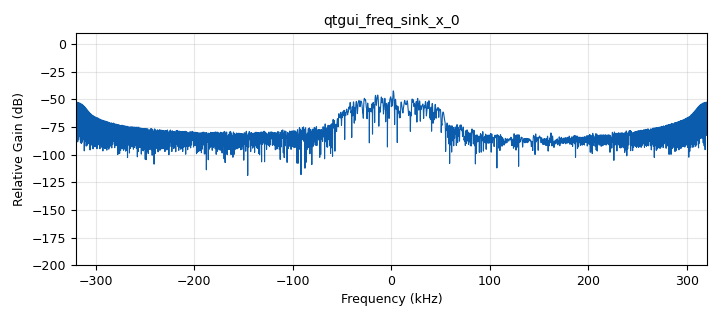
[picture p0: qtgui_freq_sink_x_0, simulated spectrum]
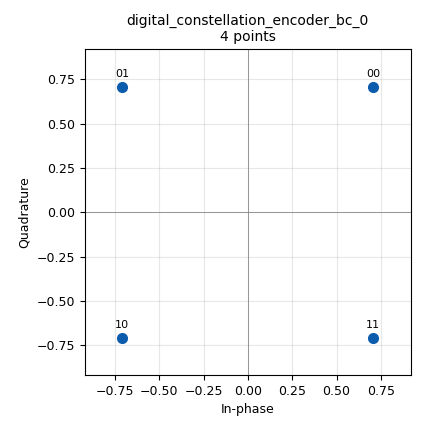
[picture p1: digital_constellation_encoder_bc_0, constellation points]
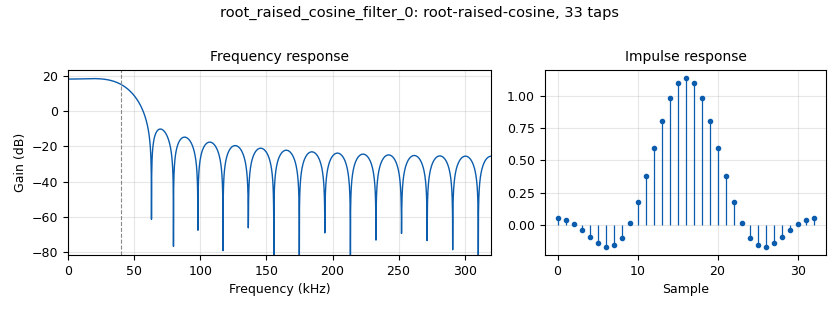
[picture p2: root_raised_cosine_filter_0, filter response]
options:
  parameters:
    author: Kolbjørn Bølgen
    generate_options: qt_gui
    id: Pluto
    output_language: python
    title: Pakke & Burst Kommunikasjon
  states: {}

blocks:
- name: LO_freq
  id: variable
  parameters:
    value: 2.425e9
  states: {}
- name: QPSK
  id: variable_constellation_rect
  parameters:
    const_points: '[0.707+0.707j, -0.707+0.707j, -0.707-0.707j, 0.707-0.707j]'
    imag_sect: '2'
    real_sect: '2'
    rot_sym: '4'
    sym_map: '[0,1,2,3]'
    w_imag_sect: '1'
    w_real_sect: '1'
  states: {}
- name: access_key
  id: variable
  parameters:
    comment: |-
      Training til frame-sync
      kasami-kode
    value: '''1101100111001110'''
  states: {}
- name: crc_size
  id: variable
  parameters:
    value: '4'
  states: {}
- name: datarate
  id: variable
  parameters:
    value: (header_size + payload_size_bytes+crc_size)*8*0.5*pakker_ps/(duty_cycle_percent/100)
  states: {}
- name: duty_cycle_percent
  id: variable
  parameters:
    value: '4'
  states: {}
- name: excess_BW
  id: variable
  parameters:
    value: '0.45'
  states: {}
- name: hdr_format
  id: variable
  parameters:
    comment: header_format_default
    value: digital.header_format_default(access_key, 0)
  states: {}
- name: header_size
  id: variable
  parameters:
    value: '6'
  states: {}
- name: padding
  id: variable
  parameters:
    value: (samp_rate/pakker_ps-signal_lengde-vindu_lengde)
  states: {}
- name: pakker_ps
  id: variable
  parameters:
    value: '40'
  states: {}
- name: payload_size_bytes
  id: variable
  parameters:
    value: '10'
  states: {}
- name: samp_rate
  id: variable
  parameters:
    value: int(datarate*sps)
  states: {}
- name: signal_lengde
  id: variable
  parameters:
    value: int((header_size+payload_size_bytes+crc_size)*4*sps)
  states: {}
- name: sps
  id: variable
  parameters:
    value: '8'
  states: {}
- name: taps
  id: variable
  parameters:
    comment: |-
      span * sps
      span = antall symboler om gangen
    value: sps*4
  states: {}
- name: thresh
  id: variable
  parameters:
    value: '1'
  states: {}
- name: vindu_lengde
  id: variable
  parameters:
    comment: |-
      20 % av pakkelengde ramp up 
       20 % av pakkelengde ramp ned
    value: int(signal_lengde*0.2)
  states: {}
- name: vindu_taps
  id: variable
  parameters:
    value: '[complex(t, t) for t in firdes.window(window.WIN_BLACKMAN, vindu_lengde, 0)]'
  states: {}
- name: analog_random_uniform_source_x_0
  id: analog_random_uniform_source_x
  parameters:
    maximum: '256'
    minimum: '0'
    seed: '0'
    type: byte
  states: {}
- name: blocks_file_source_0
  id: blocks_file_source
  parameters:
    file: TxData/datapakker10bytesCounter
    repeat: 'True'
    type: byte
  states: {state: disabled}
- name: blocks_pack_k_bits_bb_0
  id: blocks_pack_k_bits_bb
  parameters:
    comment: 2 bits per symbol
    k: '2'
  states: {}
- name: blocks_repack_bits_bb_0
  id: blocks_repack_bits_bb
  parameters:
    comment: bytes -> bits
    endianness: gr.GR_MSB_FIRST
    k: '8'
    l: '1'
    len_tag_key: '"packet_len"'
  states: {}
- name: blocks_skiphead_0_0
  id: blocks_skiphead
  parameters:
    num_items: int(taps/2)
    type: complex
  states: {}
- name: blocks_stream_to_tagged_stream_0
  id: blocks_stream_to_tagged_stream
  parameters:
    comment: payload
    len_tag_key: '"packet_len"'
    packet_len: payload_size_bytes
    type: byte
  states: {}
- name: blocks_stream_to_tagged_stream_1
  id: blocks_stream_to_tagged_stream
  parameters:
    len_tag_key: '"burst_len"'
    packet_len: signal_lengde
    type: complex
  states: {}
- name: blocks_tagged_stream_multiply_length_0
  id: blocks_tagged_stream_multiply_length
  parameters:
    c: '4'
    lengthtagname: packet_len
    type: complex
  states: {}
- name: blocks_tagged_stream_mux_0_0_0
  id: blocks_tagged_stream_mux
  parameters:
    comment: payload + 16 bytes
    lengthtagname: packet_len
    ninputs: '2'
    type: byte
  states: {}
- name: digital_burst_shaper_xx_0
  id: digital_burst_shaper_xx
  parameters:
    insert_phasing: 'True'
    length_tag_name: '"burst_len"'
    post_padding: int(padding/2)
    pre_padding: int(padding/2)
    type: complex
    window: vindu_taps
  states: {}
- name: digital_constellation_encoder_bc_0
  id: digital_constellation_encoder_bc
  parameters:
    constellation: QPSK
  states: {}
- name: digital_crc32_bb_0
  id: digital_crc32_bb
  parameters:
    check: 'False'
    comment: 4 bytes CRC
    lengthtagname: '"packet_len"'
    packed: 'True'
  states: {}
- name: digital_diff_encoder_bb_0
  id: digital_diff_encoder_bb
  parameters:
    coding: digital.DIFF_DIFFERENTIAL
    modulus: '4'
  states: {}
- name: digital_protocol_formatter_bb_0
  id: digital_protocol_formatter_bb
  parameters:
    comment: |-
      6 bytes header
      2 bytes: Access_key
      4 bytes: pakkelengde, repeat x 2
    format: hdr_format
    len_tag_key: '"packet_len"'
  states: {}
- name: iio_pluto_sink_0
  id: iio_pluto_sink
  parameters:
    attenuation1: '10'
    bandwidth: int(samp_rate)
    buffer_size: int(samp_rate/40)
    cyclic: 'False'
    filter_source: '''Auto'''
    frequency: int(LO_freq)
    len_tag_key: burst_len
    samplerate: samp_rate
    type: fc32
    uri: ip:192.168.2.1
  states: {}
- name: iio_pluto_sink_0_0
  id: iio_pluto_sink
  parameters:
    attenuation1: '0'
    bandwidth: '20000000'
    buffer_size: signal_lengde
    cyclic: 'False'
    filter_source: '''Auto'''
    frequency: int(LO_freq)
    len_tag_key: burst_len
    samplerate: samp_rate
    type: fc32
    uri: ip:192.168.2.1
  states: {state: disabled}
- name: import_0
  id: import
  parameters:
    imports: from math import pi
  states: {}
- name: import_0_0
  id: import
  parameters:
    imports: from math import sqrt
  states: {}
- name: low_pass_filter_0
  id: low_pass_filter
  parameters:
    cutoff_freq: samp_rate*0.4
    decim: '1'
    gain: '1'
    samp_rate: samp_rate
    type: fir_filter_ccf
    width: samp_rate*0.05
    win: window.WIN_HANN
  states: {state: disabled}
- name: qtgui_freq_sink_x_0
  id: qtgui_freq_sink_x
  parameters:
    bw: samp_rate
    fc: '0'
    fftsize: '32768'
    type: complex
    wintype: window.WIN_BLACKMAN
    ymin: '-200'
  states: {}
- name: qtgui_time_sink_x_0
  id: qtgui_time_sink_x
  parameters:
    nconnections: '2'
    size: int(samp_rate/40)
    srate: samp_rate
    type: complex
  states: {state: disabled}
- name: root_raised_cosine_filter_0
  id: root_raised_cosine_filter
  parameters:
    alpha: excess_BW
    gain: sps
    interp: sps
    ntaps: taps
    samp_rate: samp_rate
    sym_rate: samp_rate/sps
    type: interp_fir_filter_ccf
  states: {}
- name: virtual_sink_0_2_1
  id: virtual_sink
  parameters:
    stream_id: Pakke
  states: {}
- name: virtual_source_1
  id: virtual_source
  parameters:
    stream_id: Pakke
  states: {}

connections:
- [analog_random_uniform_source_x_0, '0', blocks_stream_to_tagged_stream_0, '0']
- [blocks_file_source_0, '0', blocks_stream_to_tagged_stream_0, '0']
- [blocks_pack_k_bits_bb_0, '0', digital_diff_encoder_bb_0, '0']
- [blocks_repack_bits_bb_0, '0', virtual_sink_0_2_1, '0']
- [blocks_skiphead_0_0, '0', blocks_tagged_stream_multiply_length_0, '0']
- [blocks_stream_to_tagged_stream_0, '0', digital_crc32_bb_0, '0']
- [blocks_stream_to_tagged_stream_1, '0', digital_burst_shaper_xx_0, '0']
- [blocks_stream_to_tagged_stream_1, '0', iio_pluto_sink_0_0, '0']
- [blocks_tagged_stream_multiply_length_0, '0', blocks_stream_to_tagged_stream_1, '0']
- [blocks_tagged_stream_mux_0_0_0, '0', blocks_repack_bits_bb_0, '0']
- [digital_burst_shaper_xx_0, '0', iio_pluto_sink_0, '0']
- [digital_burst_shaper_xx_0, '0', low_pass_filter_0, '0']
- [digital_burst_shaper_xx_0, '0', qtgui_freq_sink_x_0, '0']
- [digital_burst_shaper_xx_0, '0', qtgui_time_sink_x_0, '1']
- [digital_constellation_encoder_bc_0, '0', root_raised_cosine_filter_0, '0']
- [digital_crc32_bb_0, '0', blocks_tagged_stream_mux_0_0_0, '1']
- [digital_crc32_bb_0, '0', digital_protocol_formatter_bb_0, '0']
- [digital_diff_encoder_bb_0, '0', digital_constellation_encoder_bc_0, '0']
- [digital_protocol_formatter_bb_0, '0', blocks_tagged_stream_mux_0_0_0, '0']
- [low_pass_filter_0, '0', iio_pluto_sink_0, '0']
- [low_pass_filter_0, '0', qtgui_time_sink_x_0, '0']
- [root_raised_cosine_filter_0, '0', blocks_skiphead_0_0, '0']
- [virtual_source_1, '0', blocks_pack_k_bits_bb_0, '0']

metadata:
  file_format: 1
  grc_version: 3.10.9.2
